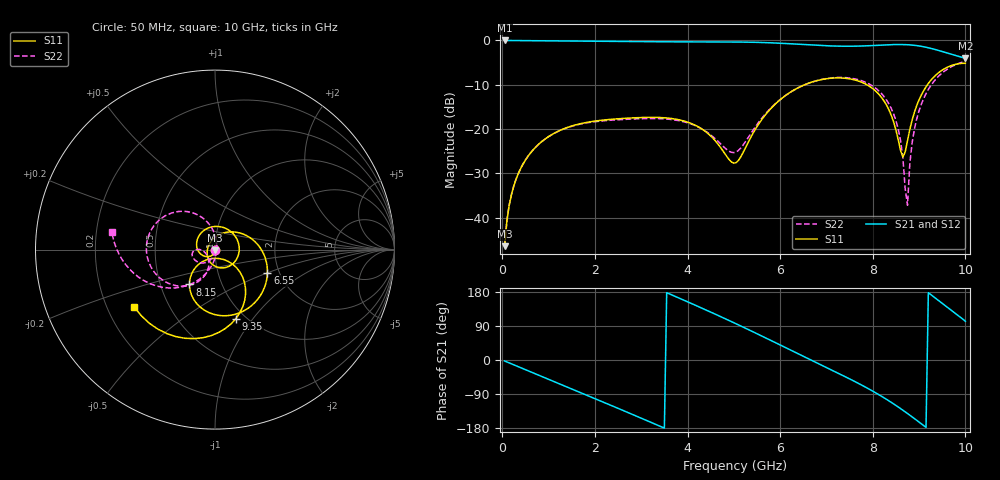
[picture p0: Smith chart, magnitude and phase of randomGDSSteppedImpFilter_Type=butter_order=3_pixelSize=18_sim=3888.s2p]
! freq	dB(S11)	phase(S11)	dB(S12)	phase(S12)
!  dB(S21)	phase(S21)	dB(S22)	phase(S22)
!S-par simulation data
#  GHz  S  DB  R 50
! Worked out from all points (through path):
!   200 points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, 50 MHz to 10 GHz, reference 50 ohm
!   highest |S21| = 0.00 dB at 50 MHz (marker M1); lowest = -4.0 dB at 10 GHz (marker M2)
!   group delay of S21, straight-line fit = 164 ps
!   lowest |S11| = -46.4 dB at 50 MHz (marker M3), VSWR 1.01, Z = 50 - j0.476 ohm
!   |S11| at or under -10 dB: start of sweep to 6.529 GHz; 7.872 GHz to 9.18 GHz (1.308 GHz wide, 15.3 % of centre)
!   |S22| runs from -46.4 to -4.7 dB; largest |S21 - S12| = 0
!   S11 on the Smith chart (normalised r, x): 50 MHz: 1.00, -0.01; 6.55 GHz: 1.73, -0.50; 8.15 GHz: 0.70, -0.29; 9.35 GHz: 0.90, -0.83; 10 GHz: 0.32, -0.29
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0.05  -46.44 -90.6  -0.00 -2.6  -0.00 -2.6  -46.40 -88.6
0.2  -34.70 -103.3  -0.02 -10.3  -0.02 -10.3  -34.66 -96.0
0.5  -27.00 -125.3  -0.04 -25.6  -0.04 -25.6  -26.97 -106.8
1.15  -20.79 -172.4  -0.10 -58.6  -0.10 -58.6  -20.81 -127.0
1.75  -18.65 141.4  -0.16 -89.1  -0.16 -89.1  -18.75 -141.9
2.5  -17.68 77.8  -0.22 -127.6  -0.22 -127.6  -17.90 -154.6
3.4  -17.40 -1.7  -0.29 -174.5  -0.29 -174.5  -17.66 -166.8
4.15  -19.06 -66.3  -0.33 145.6  -0.33 145.6  -19.16 -178.8
5.05  -27.57 149.9  -0.36 95.5  -0.36 95.5  -25.17 -140.0
5.7  -16.55 41.0  -0.49 57.6  -0.49 57.6  -16.36 -111.4
6.55  -9.91 -24.0  -0.96 7.0  -0.96 7.0  -9.93 -143.7
6.7  -9.35 -34.1  -1.05 -1.9  -1.05 -1.9  -9.36 -150.9
7.4  -8.53 -79.1  -1.31 -43.6  -1.31 -43.6  -8.38 172.6
8.15  -12.38 -126.3  -1.07 -92.9  -1.07 -92.9  -11.59 126.4
8.35  -15.70 -136.3  -0.97 -107.9  -0.97 -107.9  -14.35 111.7
8.6  -24.83 -117.1  -0.92 -128.2  -0.92 -128.2  -22.59 88.2
8.75  -22.62 -48.5  -0.97 -141.2  -0.97 -141.2  -37.21 -53.1
8.8  -20.09 -41.7  -1.00 -145.6  -1.00 -145.6  -27.82 -86.8
8.9  -16.18 -40.0  -1.10 -154.7  -1.10 -154.7  -19.97 -103.4
9.35  -7.93 -73.1  -2.05 163.6  -2.05 163.6  -8.87 -144.4
9.7  -5.66 -108.5  -3.14 131.1  -3.14 131.1  -5.93 -170.6
10  -5.16 -144.5  -4.02 102.3  -4.02 102.3  -4.68 170.1
